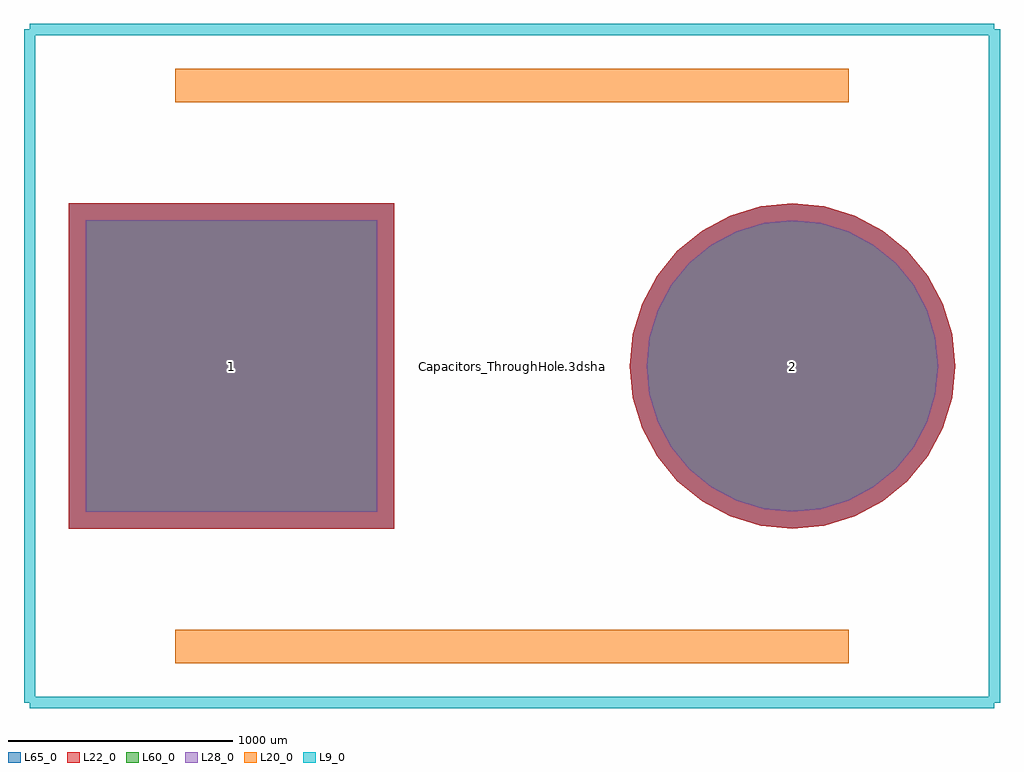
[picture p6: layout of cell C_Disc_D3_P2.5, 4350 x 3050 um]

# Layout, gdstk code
import gdstk
lib = gdstk.Library(unit=1e-6, precision=1e-09)
def R(c, l, rs):  # rectangles x0, y0, x1, y1
    for r in rs: c.add(gdstk.rectangle(r[:2], r[2:], *l))
def P(c, l, *ps):  # polygons
    for p in ps: c.add(gdstk.Polygon(p, *l))
L9_0 = (9, 0)
L20_0 = (20, 0)
L22_0 = (22, 0)
L28_0 = (28, 0)
L60_0 = (60, 0)
L65_0 = (65, 0)

c_disc_d3_p2_5 = lib.new_cell('C_Disc_D3_P2.5')
R(c_disc_d3_p2_5, L22_0, [(-725,-725,725,725)])
P(c_disc_d3_p2_5, L22_0, [(3225,0),(3211.069,141.44),(3169.813,277.445),(3102.815,402.788),(3012.652,512.652),(2902.788,602.815),(2777.445,669.813),(2641.44,711.069),(2500,725),(2358.56,711.069),(2222.555,669.813),(2097.212,602.815),(1987.348,512.652),(1897.185,402.788),(1830.187,277.445),(1788.931,141.44),(1775,0),(1788.931,-141.44),(1830.187,-277.445),(1897.185,-402.788),(1987.348,-512.652),(2097.212,-602.815),(2222.555,-669.813),(2358.56,-711.069),(2500,-725),(2641.44,-711.069),(2777.445,-669.813),(2902.788,-602.815),(3012.652,-512.652),(3102.815,-402.788),(3169.813,-277.445),(3211.069,-141.44)])
R(c_disc_d3_p2_5, L28_0, [(-650,-650,650,650)])
P(c_disc_d3_p2_5, L28_0, [(3150,0),(3137.51,126.809),(3100.522,248.744),(3040.455,361.121),(2959.619,459.619),(2861.121,540.455),(2748.744,600.522),(2626.809,637.51),(2500,650),(2373.191,637.51),(2251.256,600.522),(2138.879,540.455),(2040.381,459.619),(1959.545,361.121),(1899.478,248.744),(1862.49,126.809),(1850,0),(1862.49,-126.809),(1899.478,-248.744),(1959.545,-361.121),(2040.381,-459.619),(2138.879,-540.455),(2251.256,-600.522),(2373.191,-637.51),(2500,-650),(2626.809,-637.51),(2748.744,-600.522),(2861.121,-540.455),(2959.619,-459.619),(3040.455,-361.121),(3100.522,-248.744),(3137.51,-126.809)])
R(c_disc_d3_p2_5, L60_0, [(-650,-650,650,650)])
P(c_disc_d3_p2_5, L60_0, [(3150,0),(3137.51,126.809),(3100.522,248.744),(3040.455,361.121),(2959.619,459.619),(2861.121,540.455),(2748.744,600.522),(2626.809,637.51),(2500,650),(2373.191,637.51),(2251.256,600.522),(2138.879,540.455),(2040.381,459.619),(1959.545,361.121),(1899.478,248.744),(1862.49,126.809),(1850,0),(1862.49,-126.809),(1899.478,-248.744),(1959.545,-361.121),(2040.381,-459.619),(2138.879,-540.455),(2251.256,-600.522),(2373.191,-637.51),(2500,-650),(2626.809,-637.51),(2748.744,-600.522),(2861.121,-540.455),(2959.619,-459.619),(3040.455,-361.121),(3100.522,-248.744),(3137.51,-126.809)])
R(c_disc_d3_p2_5, L65_0, [(-725,-725,725,725)])
P(c_disc_d3_p2_5, L65_0, [(3225,0),(3211.069,141.44),(3169.813,277.445),(3102.815,402.788),(3012.652,512.652),(2902.788,602.815),(2777.445,669.813),(2641.44,711.069),(2500,725),(2358.56,711.069),(2222.555,669.813),(2097.212,602.815),(1987.348,512.652),(1897.185,402.788),(1830.187,277.445),(1788.931,141.44),(1775,0),(1788.931,-141.44),(1830.187,-277.445),(1897.185,-402.788),(1987.348,-512.652),(2097.212,-602.815),(2222.555,-669.813),(2358.56,-711.069),(2500,-725),(2641.44,-711.069),(2777.445,-669.813),(2902.788,-602.815),(3012.652,-512.652),(3102.815,-402.788),(3169.813,-277.445),(3211.069,-141.44)])
c_disc_d3_p2_5.add(gdstk.FlexPath([(2750,-1250),(-250,-1250)], 149.998, ends="flush", simple_path=True, layer=20, datatype=0))  # L20_0
c_disc_d3_p2_5.add(gdstk.FlexPath([(-250,1250),(2750,1250)], 149.998, ends="flush", simple_path=True, layer=20, datatype=0))  # L20_0
c_disc_d3_p2_5.add(gdstk.FlexPath([(-900,-1500),(-900,1500)], 50, ends="flush", simple_path=True, layer=9, datatype=0))  # L9_0
c_disc_d3_p2_5.add(gdstk.FlexPath([(3400,-1500),(-900,-1500)], 50, ends="flush", simple_path=True, layer=9, datatype=0))  # L9_0
c_disc_d3_p2_5.add(gdstk.FlexPath([(3400,1500),(3400,-1500)], 50, ends="flush", simple_path=True, layer=9, datatype=0))  # L9_0
c_disc_d3_p2_5.add(gdstk.FlexPath([(-900,1500),(3400,1500)], 50, ends="flush", simple_path=True, layer=9, datatype=0))  # L9_0
c_disc_d3_p2_5.add(gdstk.Label('Capacitors_ThroughHole.3dshapes/C_Disc_D3_P2.5.wrl', (1250,0), layer=12, texttype=0))
c_disc_d3_p2_5.add(gdstk.Label('2', (2500,0), layer=28, texttype=0))
c_disc_d3_p2_5.add(gdstk.Label('1', (0,0), layer=28, texttype=0))
c_disc_d3_p2_5.add(gdstk.Label('type', (1250,-2500), layer=9, texttype=0))
c_disc_d3_p2_5.add(gdstk.Label('devicename', (1250,2500), layer=9, texttype=0))

lib.write_gds('C_Disc_D3_P2.5.gds')
